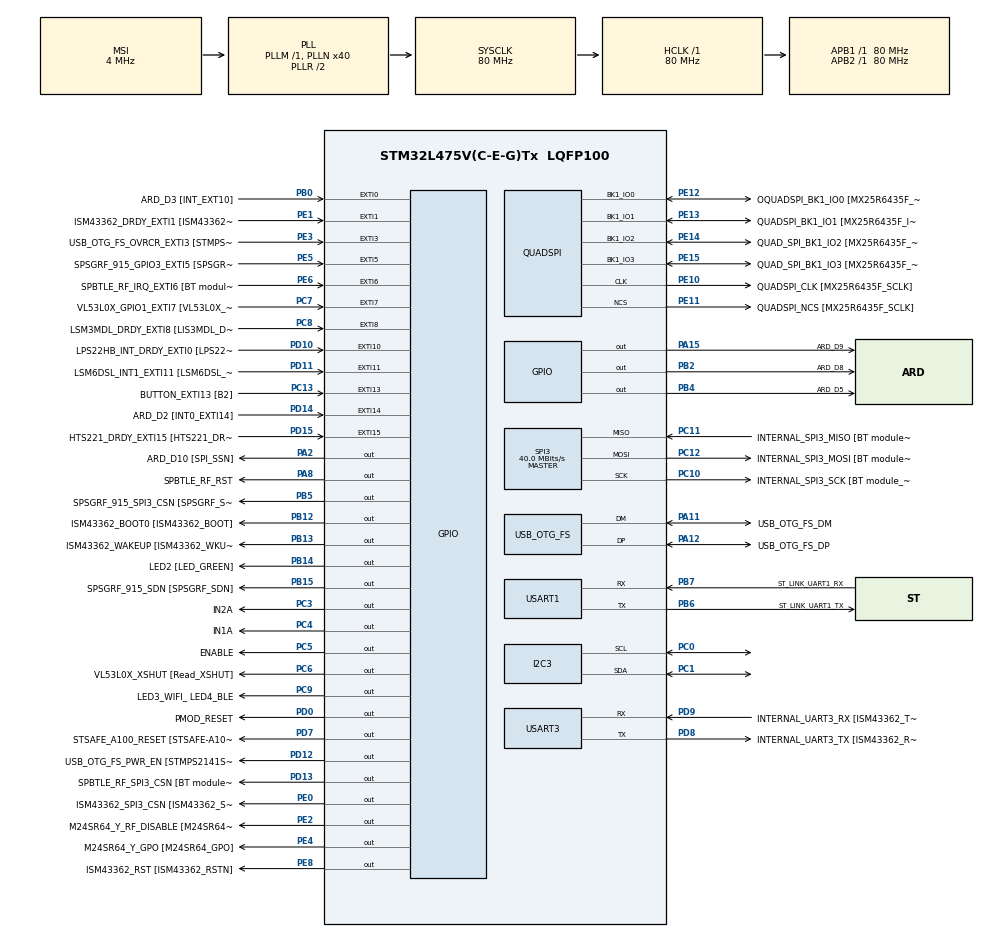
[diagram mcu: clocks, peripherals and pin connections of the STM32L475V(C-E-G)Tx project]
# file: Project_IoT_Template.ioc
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I2C3.Timing=0x10909CEC
Mcu.Family=STM32L4
Mcu.Name=STM32L475V(C-E-G)Tx
Mcu.Package=LQFP100
NVIC.EXTI15_10_IRQn=true\:0\:0\:false\:false\:true\:true\:true\:true
NVIC.EXTI1_IRQn=true\:0\:0\:false\:false\:true\:true\:true\:true
NVIC.EXTI9_5_IRQn=true\:0\:0\:false\:false\:true\:true\:true\:true
NVIC.PriorityGroup=NVIC_PRIORITYGROUP_4
NVIC.RTC_WKUP_IRQn=true\:2\:0\:true\:false\:true\:true\:true\:true
NVIC.TIM6_DAC_IRQn=true\:1\:0\:true\:false\:true\:true\:true\:true
PA0.GPIO_Label=ARD_D1 [UART4_TX]
PA0.Signal=UART4_TX
PA1.GPIO_Label=ARD_D0 [UART4_RX]
PA1.Signal=UART4_RX
PA10.GPIO_Label=USB_OTG_FS_ID
PA10.Signal=USB_OTG_FS_ID
PA11.GPIO_Label=USB_OTG_FS_DM
PA11.Mode=Device_Only
PA11.Signal=USB_OTG_FS_DM
PA12.GPIO_Label=USB_OTG_FS_DP
PA12.Mode=Device_Only
PA12.Signal=USB_OTG_FS_DP
PA13\ (JTMS-SWDIO).GPIO_Label=SYS_JTMS_SWDIO
PA13\ (JTMS-SWDIO).Mode=Serial_Wire
PA13\ (JTMS-SWDIO).Signal=SYS_JTMS-SWDIO
PA14\ (JTCK-SWCLK).GPIO_Label=SYS_JTCK_SWCLK
PA14\ (JTCK-SWCLK).Mode=Serial_Wire
PA14\ (JTCK-SWCLK).Signal=SYS_JTCK-SWCLK
PA15\ (JTDI).GPIO_Label=ARD_D9
PA15\ (JTDI).Signal=GPIO_Output
PA2.GPIO_Label=ARD_D10 [SPI_SSN]
PA2.Signal=GPIO_Output
PA3.GPIO_Label=ARD_D4
PA3.Signal=S_TIM2_CH4
PA4.GPIO_Label=ARD_D7
PA4.Signal=ADCx_IN9
PA5.GPIO_Label=ARD_D13 [SPI1_SCK]
PA5.Signal=SPI1_SCK
PA6.GPIO_Label=ARD_D12 [SPI1_MISO]
PA6.Signal=SPI1_MISO
PA7.GPIO_Label=ARD_D11 [SPI1_MOSI]
PA7.Signal=SPI1_MOSI
PA8.GPIO_Label=SPBTLE_RF_RST
PA8.Signal=GPIO_Output
PA9.GPIO_Label=USB_OTG_FS_VBUS [STMPS2141STR_OUT]
PA9.Signal=USB_OTG_FS_VBUS
PB0.GPIO_Label=ARD_D3 [INT_EXT10]
PB0.Signal=GPXTI0
PB1.GPIO_Label=ARD_D6 [ADC1_IN6]
PB1.Signal=ADCx_IN16
PB10.Signal=I2C2_SCL
PB11.Signal=I2C2_SDA
PB12.GPIO_Label=ISM43362_BOOT0 [ISM43362_BOOT]
PB12.Signal=GPIO_Output
PB13.GPIO_Label=ISM43362_WAKEUP [ISM43362_WKUP]
PB13.Signal=GPIO_Output
PB14.GPIO_Label=LED2 [LED_GREEN]
PB14.Signal=GPIO_Output
PB15.GPIO_Label=SPSGRF_915_SDN [SPSGRF_SDN]
PB15.Signal=GPIO_Output
PB2.GPIO_Label=ARD_D8
PB2.Signal=GPIO_Output
PB3\ (JTDO-TRACESWO).GPIO_Label=SYS_JTD0_SWO
PB3\ (JTDO-TRACESWO).Signal=SYS_JTDO-SWO
PB4\ (NJTRST).GPIO_Label=ARD_D5
PB4\ (NJTRST).Signal=GPIO_Output
PB5.GPIO_Label=SPSGRF_915_SPI3_CSN [SPSGRF_SPI_CS]
PB5.PinState=GPIO_PIN_SET
PB5.Signal=GPIO_Output
PB6.GPIO_Label=ST_LINK_UART1_TX
PB6.Mode=Asynchronous
PB6.Signal=USART1_TX
PB7.GPIO_Label=ST_LINK_UART1_RX
PB7.Mode=Asynchronous
PB7.Signal=USART1_RX
PB8.GPIO_Label=ARD_D15 [I2C1_SCL]
PB8.Signal=I2C1_SCL
PB9.GPIO_Label=ARD_D14 [I2C1_SDA]
PB9.Signal=I2C1_SDA
PC0.GPIO_Pu=GPIO_PULLUP
PC0.Mode=I2C
PC0.Signal=I2C3_SCL
PC1.GPIO_Pu=GPIO_PULLUP
PC1.Mode=I2C
PC1.Signal=I2C3_SDA
PC10.GPIO_Label=INTERNAL_SPI3_SCK [BT module_SPI_SCLK] [ISM43362_SCK]
PC10.Mode=Full_Duplex_Master
PC10.Signal=SPI3_SCK
PC11.GPIO_Label=INTERNAL_SPI3_MISO [BT module_SPI_MISO] [ISM43362_MISO]
PC11.Mode=Full_Duplex_Master
PC11.Signal=SPI3_MISO
PC12.GPIO_Label=INTERNAL_SPI3_MOSI [BT module_SPI_MOSI] [ISM43362_MOSI]
PC12.Mode=Full_Duplex_Master
PC12.Signal=SPI3_MOSI
PC13.GPIO_Label=BUTTON_EXTI13 [B2]
PC13.GPIO_ModeDefaultEXTI=GPIO_MODE_IT_FALLING
PC13.Signal=GPXTI13
PC14-OSC32_IN\ (PC14).Mode=LSE-External-Oscillator
PC14-OSC32_IN\ (PC14).Signal=RCC_OSC32_IN
PC15-OSC32_OUT\ (PC15).Mode=LSE-External-Oscillator
PC15-OSC32_OUT\ (PC15).Signal=RCC_OSC32_OUT
PC2.Signal=ADCx_IN3
PC3.GPIO_Label=IN2A
PC3.Signal=GPIO_Output
PC4.GPIO_Label=IN1A
PC4.Signal=GPIO_Output
PC5.GPIO_Label=ENABLE
PC5.Signal=GPIO_Output
PC6.GPIO_Label=VL53L0X_XSHUT [Read_XSHUT]
PC6.Signal=GPIO_Output
PC7.GPIO_Label=VL53L0X_GPIO1_EXTI7 [VL53L0X_GPIO1]
PC7.Signal=GPXTI7
PC8.GPIO_Label=LSM3MDL_DRDY_EXTI8 [LIS3MDL_DRDY]
PC8.Signal=GPXTI8
PC9.GPIO_Label=LED3_WIFI_ LED4_BLE
PC9.Signal=GPIO_Output
PD0.GPIO_Label=PMOD_RESET
PD0.Signal=GPIO_Output
PD1.GPIO_Label=PMOD_SPI2_SCK
PD1.Signal=SPI2_SCK
PD10.GPIO_Label=LPS22HB_INT_DRDY_EXTI0 [LPS22HB_INT_DRDY] 
PD10.Signal=GPXTI10
PD11.GPIO_Label=LSM6DSL_INT1_EXTI11 [LSM6DSL_INT1]
PD11.Signal=GPXTI11
PD12.GPIO_Label=USB_OTG_FS_PWR_EN [STMPS2141STR_EN]
PD12.Signal=GPIO_Output
PD13.GPIO_Label=SPBTLE_RF_SPI3_CSN [BT module_SPI_CS]
PD13.PinState=GPIO_PIN_SET
PD13.Signal=GPIO_Output
PD14.GPIO_Label=ARD_D2 [INT0_EXTI14]
PD14.Signal=GPXTI14
PD15.GPIO_Label=HTS221_DRDY_EXTI15 [HTS221_DRDY]
PD15.Signal=GPXTI15
PD3.GPIO_Label=PMOD_UART2_CTS
PD3.Signal=USART2_CTS
PD4.GPIO_Label=PMOD_UART2_RTS
PD4.Signal=USART2_RTS
PD5.GPIO_Label=PMOD_UART2_TX
PD5.Signal=USART2_TX
PD6.GPIO_Label=PMOD_UART2_RX
PD6.Signal=USART2_RX
PD7.GPIO_Label=STSAFE_A100_RESET [STSAFE-A100_RESET]
PD7.Signal=GPIO_Output
PD8.GPIO_Label=INTERNAL_UART3_TX [ISM43362_RX]
PD8.Mode=Asynchronous
PD8.Signal=USART3_TX
PD9.GPIO_Label=INTERNAL_UART3_RX [ISM43362_TX]
PD9.Mode=Asynchronous
PD9.Signal=USART3_RX
PE0.GPIO_Label=ISM43362_SPI3_CSN [ISM43362_SSN]
PE0.PinState=GPIO_PIN_SET
PE0.Signal=GPIO_Output
PE1.GPIO_Label=ISM43362_DRDY_EXTI1 [ISM43362_DATARDY]
PE1.Signal=GPXTI1
PE10.GPIO_Label=QUADSPI_CLK [MX25R6435F_SCLK]
PE10.Mode=Single Bank
PE10.Signal=QUADSPI_CLK
PE11.GPIO_Label=QUADSPI_NCS [MX25R6435F_SCLK]
PE11.Mode=Single Bank
PE11.Signal=QUADSPI_NCS
PE12.GPIO_Label=OQUADSPI_BK1_IO0 [MX25R6435F_IO0]
PE12.Mode=Single Bank
PE12.Signal=QUADSPI_BK1_IO0
PE13.GPIO_Label=QUADSPI_BK1_IO1 [MX25R6435F_IO1]
PE13.Mode=Single Bank
PE13.Signal=QUADSPI_BK1_IO1
PE14.GPIO_Label=QUAD_SPI_BK1_IO2 [MX25R6435F_IO2]
PE14.Mode=Single Bank
PE14.Signal=QUADSPI_BK1_IO2
PE15.GPIO_Label=QUAD_SPI_BK1_IO3 [MX25R6435F_IO3]
PE15.Mode=Single Bank
PE15.Signal=QUADSPI_BK1_IO3
PE2.GPIO_Label=M24SR64_Y_RF_DISABLE [M24SR64_RFDIS]
PE2.Signal=GPIO_Output
PE3.GPIO_Label=USB_OTG_FS_OVRCR_EXTI3 [STMPS2141STR_FAULT]
PE3.Signal=GPXTI3
PE4.GPIO_Label=M24SR64_Y_GPO [M24SR64_GPO]
PE4.Signal=GPIO_Output
PE5.GPIO_Label=SPSGRF_915_GPIO3_EXTI5 [SPSGRF_GPIO_3]
PE5.Signal=GPXTI5
PE6.GPIO_Label=SPBTLE_RF_IRQ_EXTI6 [BT module_SPI_IRQ]
PE6.Signal=GPXTI6
PE7.GPIO_Label=DFSDM1_DATIN2 [MP34DT01_DOUT]
PE7.Signal=S_DATAIN2DFSDM1
PE8.GPIO_Label=ISM43362_RST [ISM43362_RSTN]
PE8.Signal=GPIO_Output
ProjectManager.HeapSize=0x200
ProjectManager.StackSize=0x400
ProjectManager.TargetToolchain=STM32CubeIDE
QUADSPI.ClockPrescaler=2
QUADSPI.FifoThreshold=4
QUADSPI.FlashSize=23
QUADSPI.SampleShifting=QSPI_SAMPLE_SHIFTING_HALFCYCLE
RCC.ADCFreq_Value=48000000
RCC.AHBFreq_Value=80000000
RCC.APB1Freq_Value=80000000
RCC.APB1TimFreq_Value=80000000
RCC.APB2Freq_Value=80000000
RCC.APB2TimFreq_Value=80000000
RCC.CortexFreq_Value=80000000
RCC.HCLKFreq_Value=80000000
RCC.HSE_VALUE=8000000
RCC.HSI_VALUE=16000000
RCC.MSI_VALUE=4000000
RCC.PLLN=40
RCC.PLLSAI1N=24
RCC.SYSCLKFreq_VALUE=80000000
RCC.SYSCLKSource=RCC_SYSCLKSOURCE_PLLCLK
RCC.USBFreq_Value=48000000
RCC.VCOOutputFreq_Value=160000000
RTC.WakeUpCounter-WakeUp=2047
SH.ADCx_IN16.0=ADC1_IN16
SH.ADCx_IN3.0=ADC3_IN3
SH.ADCx_IN9.0=ADC1_IN9
SH.S_DATAIN2DFSDM1.0=DFSDM1_DATIN2
SH.S_TIM2_CH4.0=TIM2_CH4
SPI3.CalculateBaudRate=40.0 MBits/s
SPI3.Direction=SPI_DIRECTION_2LINES
SPI3.Mode=SPI_MODE_MASTER
SPI3.VirtualType=VM_MASTER
TIM6.Period=49999
TIM6.Prescaler=8000
USART1.VirtualMode-Asynchronous=VM_ASYNC
USART3.VirtualMode-Asynchronous=VM_ASYNC
USB_OTG_FS.VirtualMode=Device_Only
VP_DFSDM1_VS_IN0.Mode=Parallel_Input_ch0
VP_RNG_VS_RNG.Mode=RNG_Activate
VP_RTC_VS_RTC_Activate.Mode=RTC_Enabled
VP_RTC_VS_RTC_WakeUp_intern.Mode=WakeUp
VP_TIM6_VS_ClockSourceINT.Mode=Enable_Timer
board=B-L475E-IOT01A1

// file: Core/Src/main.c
/* USER CODE BEGIN Header */
/**
  ******************************************************************************
  * @file           : main.c
  * @brief          : Main program body
  *
  * Demo application to connect to a cloud based MQTT broker
  * Data communication is un-encrypted using port 1883
  *
  * Before running the code: -
  * 1. open /Core/Inc/WiFi_Credentials.h and enter WiFi access point SSID and password
  * 2. open /Core/Inc/CloudBrokerCredentials.h and enter your broker credentials
  * 3. Enter the subscribe topic name in line 376
  * 4. Enter the publish topic name in line 426
  *
  * Application Functionality
  * 1. Fetches the epoch time from st.com and uses it to start the RTC with a 1-second wake-up interrupt
  * 2. Connects to wireless access point and then to cloud DNS
  * 3. Connects to MQTT broker
  * 4. Subscribes to a single topic
  * 5. Prints date and time every second
  * 6. Publishes to a topic every 5 seconds (uses Tim6 periodic interrupt)
  * 7. Subscribe callback function runs every time a publish message is received from the broker
  ******************************************************************************
  * @attention
  *
  * Copyright (c) 2022 STMicroelectronics.
  * All rights reserved.
  *
  * This software is licensed under terms that can be found in the LICENSE file
  * in the root directory of this software component.
  * If no LICENSE file comes with this software, it is provided AS-IS.
  *
  ******************************************************************************
  */
/* USER CODE END Header */
#include "main.h"

/* USER CODE BEGIN Includes */
#include <string.h>
#include "wifi.h"
#include "net_internal.h"
#include "..\..\Common\Shared\Inc\net.h"
#include "stm32l475e_iot01_tsensor.h"
#include "stm32l475e_iot01_psensor.h"
#include "WiFi_Credentials.h"
#include "CloudBrokerCredentials.h"
#include "timedate.h"
#include <time.h>
/* USER CODE END Includes */

/* USER CODE BEGIN PD */
#define CONNECTION_TRIAL_MAX          10

#define WIFI_WRITE_TIMEOUT 10000
#define WIFI_READ_TIMEOUT  10000

#define CONNECTION_TRIAL_MAX          10

#define MQTT_SEND_BUFFER_SIZE             600
#define MQTT_READ_BUFFER_SIZE             600
#define MQTT_TOPIC_BUFFER_SIZE            100  /**< Maximum length of the application-defined topic names. */
#define MQTT_MSG_BUFFER_SIZE              MQTT_SEND_BUFFER_SIZE /**< Maximum length of the application-defined MQTT messages. */
#define MQTT_CMD_TIMEOUT                  5000
#define MODEL_MAC_SIZE                    13
#define MODEL_DEFAULT_MAC                 "0102030405"

#define TURBIDITY_DATA_12_BIT               0x0FFF
#define TURBIDITY_VREF_5000_mV              5000.0
#define TURBIDITY_ADC_RESOLUTION            4096.0
#define TURBIDITY_ADC_VOLTAGE_MAX           4600.0
#define TURBIDITY_ADC_VOLTAGE_MIN           1600.0
/**
 * @brief Nephelometric Turbidity Units claculation values.
 * @details Definition of Nephelometric Turbidity Units claculation data.
 */
#define TURBIDITY_NTU_CALC_FACT_0           0.8871
#define TURBIDITY_NTU_CALC_FACT_1           1.0571
#define TURBIDITY_NTU_CALC_FACT_2           1.1200
#define TURBIDITY_NTU_CALC_FACT_3           1.3333
#define TURBIDITY_NTU_CALC_FACT_4           1.6000
#define TURBIDITY_NTU_MIN                   0.0000
#define TURBIDITY_NTU_MAX                   4000.0
#define TURBIDITY_VOLTAGE_LEVEL_1           2650.0
#define TURBIDITY_VOLTAGE_LEVEL_2           2930.0
#define TURBIDITY_VOLTAGE_LEVEL_3           3350.0
#define TURBIDITY_VOLTAGE_LEVEL_4           3800.0
/* USER CODE END PD */

 DFSDM_Channel_HandleTypeDef hdfsdm1_channel0;

I2C_HandleTypeDef hi2c3;

QSPI_HandleTypeDef hqspi;

RNG_HandleTypeDef hrng;

RTC_HandleTypeDef hrtc;

SPI_HandleTypeDef hspi3;

TIM_HandleTypeDef htim6;

UART_HandleTypeDef huart1;
UART_HandleTypeDef huart3;

PCD_HandleTypeDef hpcd_USB_OTG_FS;

/* USER CODE BEGIN PV */
uint8_t timeDisplay = 0, readSensor = 0;
net_hnd_t hnet;

typedef struct {
  char *HostName;
  char *HostPort;
  char *ConnSecurity;
  char *MQClientId;
  char *MQUserName;
  char *MQUserPwd;
#ifdef LITMUS_LOOP
  char *LoopTopicId;
#endif
} device_config_t;

/* USER CODE END PV */

void SystemClock_Config(void);
void PeriphCommonClock_Config(void);
static void MX_GPIO_Init(void);
static void MX_QUADSPI_Init(void);
static void MX_SPI3_Init(void);
static void MX_USART1_UART_Init(void);
static void MX_USART3_UART_Init(void);
static void MX_USB_OTG_FS_PCD_Init(void);
static void MX_RTC_Init(void);
static void MX_TIM6_Init(void);
static void MX_RNG_Init(void);
static void MX_I2C3_Init(void);
static void MX_DFSDM1_Init(void);
/* USER CODE BEGIN PFP */
int network_wr(Network* n, unsigned char* buffer, int len, int timeout_ms);
int network_rd(Network* n, unsigned char* buffer, int len, int timeout_ms);

extern int net_if_init(void * if_ctxt);
extern int net_if_deinit(void * if_ctxt);
extern int net_if_reinit(void * if_ctxt);
extern int wifi_net_if_init(void * if_ctxt);

void SPI_WIFI_ISR(void);

int8_t turbidity_get_ntu ( uint32_t sample, float * ntu );
//void HAL_GPIO_WritePin();
/* USER CODE END PFP */

/* USER CODE BEGIN 0 */
int _write(int file, char *ptr, int len) {
	HAL_UART_Transmit(&huart1, (uint8_t*)ptr, len, HAL_MAX_DELAY);
	return len;
}

/**-------------------------------------------------------------------------------
  * @brief  EXTI line detection callback.
  * @param  GPIO_Pin: Specifies the port pin connected to corresponding EXTI line.
  * @retval None
  ------------------------------------------------------------------------------*/
void HAL_GPIO_EXTI_Callback(uint16_t GPIO_Pin)
{
  switch (GPIO_Pin)
  {
	case (GPIO_PIN_1):
	{
		SPI_WIFI_ISR();
		break;
	}

    default:
    {
      break;
    }
  }
}

/*------------------------------------------------------------------
 * RTC timer event callback function
 * Runs every second
 ------------------------------------------------------------------*/
void HAL_RTCEx_WakeUpTimerEventCallback (RTC_HandleTypeDef * hrtc) {
	timeDisplay = 1;
}

/*--------------------------------------------------------------
 * Timer 6 overflow callback function
 --------------------------------------------------------------*/
void HAL_TIM_PeriodElapsedCallback (TIM_HandleTypeDef * htim) {
	if(htim->Instance == TIM6) {
		readSensor = 1;
	}
}

/*--------------------------------------------------------------------------
 * Subscribe message callback function
 * Called every time a publish meassage is received from a subscribed topic
 --------------------------------------------------------------------------*/
void subscribeMessageHandler(MessageData* data)
{
	static char mqtt_msg[MQTT_MSG_BUFFER_SIZE], mqtt_topic[MQTT_TOPIC_BUFFER_SIZE];
	snprintf(mqtt_msg, data->message->payloadlen+1, "%s", (char *)data->message->payload);
	snprintf(mqtt_topic, data->topicName->lenstring.len+1, "%s", data->topicName->lenstring.data);
	printf("\r\nPublished message from MQTT broker\r\n");
	printf("Topic: %s, Payload: %s\r\n\n", mqtt_topic, mqtt_msg);
	if(strstr(mqtt_msg, "ON")) {
		HAL_GPIO_WritePin(LED2_GPIO_Port, LED2_Pin, GPIO_PIN_SET);
	}
	else if(strstr(mqtt_msg, "OFF")){
		HAL_GPIO_WritePin(LED2_GPIO_Port, LED2_Pin, GPIO_PIN_RESET);
	}
}

/* USER CODE END 0 */

int main(void)
{
  /* USER CODE BEGIN 1 */
	char speedMsg[50];
	float turbidity;
	int32_t ret;

//	uint8_t buffer[20];
//	uint32_t sample;
//	uint32_t voltage_mv;
//	float ntuReading;

	uint8_t buffer[20];
	uint32_t sample;
	uint32_t voltage_mv;

	//Network and MQTT variables
	device_config_t MQTT_Config;
	MQTTMessage mqmsg;
	MQTTClient client;
	Network network;
	MQTTPacket_connectData options = MQTTPacket_connectData_initializer;
	static unsigned char mqtt_send_buffer[MQTT_SEND_BUFFER_SIZE];
	static unsigned char mqtt_read_buffer[MQTT_READ_BUFFER_SIZE];
	net_sockhnd_t socket;
	net_ipaddr_t ipAddr;
	net_macaddr_t macAddr;

  /* USER CODE END 1 */

  /* MCU Configuration--------------------------------------------------------*/

  /* Reset of all peripherals, Initializes the Flash interface and the Systick. */
  HAL_Init();

  /* Configure the system clock */
  SystemClock_Config();

/* Configure the peripherals common clocks */
  PeriphCommonClock_Config();

  /* Initialize all configured peripherals */
  MX_GPIO_Init();
  MX_QUADSPI_Init();
  MX_SPI3_Init();
  MX_USART1_UART_Init();
  MX_USART3_UART_Init();
  MX_USB_OTG_FS_PCD_Init();
  MX_RTC_Init();
  MX_TIM6_Init();
  MX_RNG_Init();
  MX_I2C3_Init();
  MX_DFSDM1_Init();
  /* USER CODE BEGIN 2 */
  printf("HydroSystem connecting to Ubidots STEM...\r\n\n");

  //LED off at initialisation
  HAL_GPIO_WritePin(LED2_GPIO_Port, LED2_Pin, GPIO_PIN_RESET);

  //Initialise MQTT broker structure
  //Fill in this section with MQTT broker credentials from header file
  MQTT_Config.HostName = CloudBroker_HostName;
  MQTT_Config.HostPort = CloudBroker_Port;
  MQTT_Config.ConnSecurity = "0";	//plain TCP connection with no security
  MQTT_Config.MQUserName = CloudBroker_Username;
  MQTT_Config.MQUserPwd = CloudBroker_Password;
  MQTT_Config.MQClientId = CloudBroker_ClientID;

  //Initialise WiFi network
  if (net_init(&hnet, NET_IF, (wifi_net_if_init)) != NET_OK) {
	  printf("\n\rError");
  }
  else {
	  printf("\n\rOK");
  }
  HAL_Delay(500);

  printf("\n\rRetrieving the IP address.");

  if (net_get_ip_address(hnet, &ipAddr) != NET_OK) {
	  printf("\n\rError 2");
  }
  else
  {
    switch(ipAddr.ipv) {
      case NET_IP_V4:
        printf("\n\rIP address: %d.%d.%d.%d\n\r", ipAddr.ip[12], ipAddr.ip[13], ipAddr.ip[14], ipAddr.ip[15]);
        break;
      case NET_IP_V6:
      default:
    	  printf("\n\rError 3");
    }
  }

  if (net_get_mac_address(hnet, &macAddr) == NET_OK) {
      printf("\n\rMac Address: %02x:%02x:%02x:%02x:%02x:%02x\r\n",
               macAddr.mac[0], macAddr.mac[1], macAddr.mac[2], macAddr.mac[3], macAddr.mac[4], macAddr.mac[5]);
  }

  /*
   * Fetch the epoch time from st.com and use it to set the RTC time
   */
  if (setRTCTimeDateFromNetwork(true) != TD_OK) {
	  printf("Fail setting time\r\n");
  }
  else {
	  printf("Time set, Starting RTC\r\n");
	  //RTC started with a 1-second wake-up interrupt
	  HAL_RTCEx_SetWakeUpTimer_IT(&hrtc, 2047, RTC_WAKEUPCLOCK_RTCCLK_DIV16);
  }

  printf("Connecting to MQTT Broker\r\n\n");
  //Create network socket
  ret = net_sock_create(hnet, &socket, NET_PROTO_TCP);
  if (ret != NET_OK)
  {
    printf("\n\rCould not create the socket.\r\n");
  }
  else
  {
	  ret |= net_sock_setopt(socket, "sock_noblocking", NULL, 0);
  }

  ret = net_sock_open(socket, MQTT_Config.HostName, 1883, 0);
  if (ret != NET_OK)
	{
	  printf("\n\rCould not open the socket.");
	  HAL_Delay(1000);
	}
  else {
	  printf("\n\rConnected to server");
	  HAL_Delay(1000);
  }

  network.my_socket = socket;
  network.mqttread = (network_rd);
  network.mqttwrite = (network_wr);

  MQTTClientInit(&client, &network, MQTT_CMD_TIMEOUT, mqtt_send_buffer, MQTT_SEND_BUFFER_SIZE,
	 mqtt_read_buffer, MQTT_READ_BUFFER_SIZE);

  /* MQTT connect */
  options.clientID.cstring = MQTT_Config.MQClientId;
  options.username.cstring = MQTT_Config.MQUserName;
  options.password.cstring = MQTT_Config.MQUserPwd;

  HAL_Delay(1000);

  ret = MQTTConnect(&client, &options);
  if (ret != 0)
  {
	printf("\n\rMQTTConnect() failed: %ld\n", ret);
  }
  else
  {
	printf("\n\rConnected to MQTT Broker");
	HAL_Delay(1000);
  }
  HAL_Delay(1000);

  //Add code here to subscribe to topics
  ret = MQTTSubscribe(&client, "/v1.6/devices/hydrosystem/motor", QOS0, (subscribeMessageHandler));
  if (ret != MQSUCCESS) {
	printf("\n\rSubscribe failed: %ld\n\r", ret);
  }
  else {
	printf("\n\rSubscribed to topic \n\r");
	ret = MQTTYield(&client, 500);
  }
  HAL_Delay(1000);

  HAL_TIM_Base_Start_IT(&htim6);	//start timer 6. Used for periodic interrupt

  /* USER CODE END 2 */

  /* Infinite loop */
  while (1)
  {

    /* USER CODE BEGIN 3 */

	/*
	 * Need to yield to test for a received publish message from broker
	 */
	ret = MQTTYield(&client, 500);

	HAL_I2C_Master_Receive(&hi2c3, 0x9B, buffer, 2, 1000);
	sample = (((uint16_t)(buffer[0]))<<8) + buffer[1];
	voltage_mv = 5000 * sample/4096;
	printf("Sample: 0x%04x %lu decimal, voltage %lumV\r\n", sample, sample, voltage_mv);
	turbidity_get_ntu(sample, &turbidity);
	printf("NTU Reading: %f\r\n\n", turbidity);

	sprintf(speedMsg, "{\"Turbidity\": {\"value\": %f}}", turbidity);
	printf("%s\n\r", speedMsg);
	memset(&mqmsg, 0, sizeof(MQTTMessage));
	mqmsg.qos = QOS0;
	mqmsg.payload = (char *) speedMsg;
	mqmsg.payloadlen = strlen(speedMsg);
	MQTTPublish(&client, "/v1.6/devices/hydrosystem", &mqmsg);
	HAL_Delay(5000);

	if(turbidity > 3050){
		printf("Feeding plants\r\n");
		printf("Motor opening feed hatch\r\n\n");
		HAL_GPIO_WritePin(IN1A_GPIO_Port, IN1A_Pin, 0);
		HAL_GPIO_WritePin(IN2A_GPIO_Port, IN2A_Pin, 1);
		HAL_GPIO_WritePin(ENABLE_GPIO_Port, ENABLE_Pin, 1);//rotates motor
		HAL_Delay(3500);
		HAL_GPIO_WritePin(IN1A_GPIO_Port, IN1A_Pin, 0);
		HAL_GPIO_WritePin(IN2A_GPIO_Port, IN2A_Pin, 0);
		HAL_GPIO_WritePin(ENABLE_GPIO_Port, ENABLE_Pin, 1);//stops motor
		HAL_Delay(1500);
		HAL_GPIO_WritePin(IN1A_GPIO_Port, IN1A_Pin, 1);
		HAL_GPIO_WritePin(IN2A_GPIO_Port, IN2A_Pin, 0);
		HAL_GPIO_WritePin(ENABLE_GPIO_Port, ENABLE_Pin, 1);//reverses motor
		HAL_Delay(3500);
		HAL_GPIO_WritePin(IN1A_GPIO_Port, IN1A_Pin, 0);
		HAL_GPIO_WritePin(IN2A_GPIO_Port, IN2A_Pin, 0);
		HAL_GPIO_WritePin(ENABLE_GPIO_Port, ENABLE_Pin, 1);//stops motor
	}else{
		HAL_GPIO_WritePin(IN1A_GPIO_Port, IN1A_Pin, 0);
		HAL_GPIO_WritePin(IN2A_GPIO_Port, IN2A_Pin, 0);
		HAL_GPIO_WritePin(ENABLE_GPIO_Port, ENABLE_Pin, 1);//stops motor
	}
  }
  /* USER CODE END 3 */
}

void SystemClock_Config(void)
{
  RCC_OscInitTypeDef RCC_OscInitStruct = {0};
  RCC_ClkInitTypeDef RCC_ClkInitStruct = {0};

  /** Configure the main internal regulator output voltage
  */
  if (HAL_PWREx_ControlVoltageScaling(PWR_REGULATOR_VOLTAGE_SCALE1) != HAL_OK)
  {
    Error_Handler();
  }

  /** Configure LSE Drive Capability
  */
  HAL_PWR_EnableBkUpAccess();
  __HAL_RCC_LSEDRIVE_CONFIG(RCC_LSEDRIVE_LOW);

  /** Initializes the RCC Oscillators according to the specified parameters
  * in the RCC_OscInitTypeDef structure.
  */
  RCC_OscInitStruct.OscillatorType = RCC_OSCILLATORTYPE_LSI|RCC_OSCILLATORTYPE_LSE
                              |RCC_OSCILLATORTYPE_MSI;
  RCC_OscInitStruct.LSEState = RCC_LSE_ON;
  RCC_OscInitStruct.LSIState = RCC_LSI_ON;
  RCC_OscInitStruct.MSIState = RCC_MSI_ON;
  RCC_OscInitStruct.MSICalibrationValue = 0;
  RCC_OscInitStruct.MSIClockRange = RCC_MSIRANGE_6;
  RCC_OscInitStruct.PLL.PLLState = RCC_PLL_ON;
  RCC_OscInitStruct.PLL.PLLSource = RCC_PLLSOURCE_MSI;
  RCC_OscInitStruct.PLL.PLLM = 1;
  RCC_OscInitStruct.PLL.PLLN = 40;
  RCC_OscInitStruct.PLL.PLLP = RCC_PLLP_DIV7;
  RCC_OscInitStruct.PLL.PLLQ = RCC_PLLQ_DIV2;
  RCC_OscInitStruct.PLL.PLLR = RCC_PLLR_DIV2;
  if (HAL_RCC_OscConfig(&RCC_OscInitStruct) != HAL_OK)
  {
    Error_Handler();
  }

  /** Initializes the CPU, AHB and APB buses clocks
  */
  RCC_ClkInitStruct.ClockType = RCC_CLOCKTYPE_HCLK|RCC_CLOCKTYPE_SYSCLK
                              |RCC_CLOCKTYPE_PCLK1|RCC_CLOCKTYPE_PCLK2;
  RCC_ClkInitStruct.SYSCLKSource = RCC_SYSCLKSOURCE_PLLCLK;
  RCC_ClkInitStruct.AHBCLKDivider = RCC_SYSCLK_DIV1;
  RCC_ClkInitStruct.APB1CLKDivider = RCC_HCLK_DIV1;
  RCC_ClkInitStruct.APB2CLKDivider = RCC_HCLK_DIV1;

  if (HAL_RCC_ClockConfig(&RCC_ClkInitStruct, FLASH_LATENCY_4) != HAL_OK)
  {
    Error_Handler();
  }

  /** Enable MSI Auto calibration
  */
  HAL_RCCEx_EnableMSIPLLMode();
}

void PeriphCommonClock_Config(void)
{
  RCC_PeriphCLKInitTypeDef PeriphClkInit = {0};

  /** Initializes the peripherals clock
  */
  PeriphClkInit.PeriphClockSelection = RCC_PERIPHCLK_USB|RCC_PERIPHCLK_RNG;
  PeriphClkInit.UsbClockSelection = RCC_USBCLKSOURCE_PLLSAI1;
  PeriphClkInit.RngClockSelection = RCC_RNGCLKSOURCE_PLLSAI1;
  PeriphClkInit.PLLSAI1.PLLSAI1Source = RCC_PLLSOURCE_MSI;
  PeriphClkInit.PLLSAI1.PLLSAI1M = 1;
  PeriphClkInit.PLLSAI1.PLLSAI1N = 24;
  PeriphClkInit.PLLSAI1.PLLSAI1P = RCC_PLLP_DIV7;
  PeriphClkInit.PLLSAI1.PLLSAI1Q = RCC_PLLQ_DIV2;
  PeriphClkInit.PLLSAI1.PLLSAI1R = RCC_PLLR_DIV2;
  PeriphClkInit.PLLSAI1.PLLSAI1ClockOut = RCC_PLLSAI1_48M2CLK;
  if (HAL_RCCEx_PeriphCLKConfig(&PeriphClkInit) != HAL_OK)
  {
    Error_Handler();
  }
}

static void MX_DFSDM1_Init(void)
{

  hdfsdm1_channel0.Instance = DFSDM1_Channel0;
  hdfsdm1_channel0.Init.OutputClock.Activation = DISABLE;
  hdfsdm1_channel0.Init.OutputClock.Selection = DFSDM_CHANNEL_OUTPUT_CLOCK_SYSTEM;
  hdfsdm1_channel0.Init.OutputClock.Divider = 2;
  hdfsdm1_channel0.Init.Input.Multiplexer = DFSDM_CHANNEL_INTERNAL_REGISTER;
  hdfsdm1_channel0.Init.Input.DataPacking = DFSDM_CHANNEL_STANDARD_MODE;
  hdfsdm1_channel0.Init.Input.Pins = DFSDM_CHANNEL_SAME_CHANNEL_PINS;
  hdfsdm1_channel0.Init.SerialInterface.Type = DFSDM_CHANNEL_SPI_RISING;
  hdfsdm1_channel0.Init.SerialInterface.SpiClock = DFSDM_CHANNEL_SPI_CLOCK_EXTERNAL;
  hdfsdm1_channel0.Init.Awd.FilterOrder = DFSDM_CHANNEL_FASTSINC_ORDER;
  hdfsdm1_channel0.Init.Awd.Oversampling = 1;
  hdfsdm1_channel0.Init.Offset = 0x00;
  hdfsdm1_channel0.Init.RightBitShift = 0x00;
  if (HAL_DFSDM_ChannelInit(&hdfsdm1_channel0) != HAL_OK)
  {
    Error_Handler();
  }

}

static void MX_I2C3_Init(void)
{

  hi2c3.Instance = I2C3;
  hi2c3.Init.Timing = 0x10909CEC;
  hi2c3.Init.OwnAddress1 = 0;
  hi2c3.Init.AddressingMode = I2C_ADDRESSINGMODE_7BIT;
  hi2c3.Init.DualAddressMode = I2C_DUALADDRESS_DISABLE;
  hi2c3.Init.OwnAddress2 = 0;
  hi2c3.Init.OwnAddress2Masks = I2C_OA2_NOMASK;
  hi2c3.Init.GeneralCallMode = I2C_GENERALCALL_DISABLE;
  hi2c3.Init.NoStretchMode = I2C_NOSTRETCH_DISABLE;
  if (HAL_I2C_Init(&hi2c3) != HAL_OK)
  {
    Error_Handler();
  }

  /** Configure Analogue filter
  */
  if (HAL_I2CEx_ConfigAnalogFilter(&hi2c3, I2C_ANALOGFILTER_ENABLE) != HAL_OK)
  {
    Error_Handler();
  }

  /** Configure Digital filter
  */
  if (HAL_I2CEx_ConfigDigitalFilter(&hi2c3, 0) != HAL_OK)
  {
    Error_Handler();
  }

}

static void MX_QUADSPI_Init(void)
{

  /* QUADSPI parameter configuration*/
  hqspi.Instance = QUADSPI;
  hqspi.Init.ClockPrescaler = 2;
  hqspi.Init.FifoThreshold = 4;
  hqspi.Init.SampleShifting = QSPI_SAMPLE_SHIFTING_HALFCYCLE;
  hqspi.Init.FlashSize = 23;
  hqspi.Init.ChipSelectHighTime = QSPI_CS_HIGH_TIME_1_CYCLE;
  hqspi.Init.ClockMode = QSPI_CLOCK_MODE_0;
  if (HAL_QSPI_Init(&hqspi) != HAL_OK)
  {
    Error_Handler();
  }

}

static void MX_RNG_Init(void)
{

  hrng.Instance = RNG;
  if (HAL_RNG_Init(&hrng) != HAL_OK)
  {
    Error_Handler();
  }

}

static void MX_RTC_Init(void)
{

  /** Initialize RTC Only
  */
  hrtc.Instance = RTC;
  hrtc.Init.HourFormat = RTC_HOURFORMAT_24;
  hrtc.Init.AsynchPrediv = 127;
  hrtc.Init.SynchPrediv = 255;
  hrtc.Init.OutPut = RTC_OUTPUT_DISABLE;
  hrtc.Init.OutPutRemap = RTC_OUTPUT_REMAP_NONE;
  hrtc.Init.OutPutPolarity = RTC_OUTPUT_POLARITY_HIGH;
  hrtc.Init.OutPutType = RTC_OUTPUT_TYPE_OPENDRAIN;
  if (HAL_RTC_Init(&hrtc) != HAL_OK)
  {
    Error_Handler();
  }

}

static void MX_SPI3_Init(void)
{

  /* SPI3 parameter configuration*/
  hspi3.Instance = SPI3;
  hspi3.Init.Mode = SPI_MODE_MASTER;
  hspi3.Init.Direction = SPI_DIRECTION_2LINES;
  hspi3.Init.DataSize = SPI_DATASIZE_4BIT;
  hspi3.Init.CLKPolarity = SPI_POLARITY_LOW;
  hspi3.Init.CLKPhase = SPI_PHASE_1EDGE;
  hspi3.Init.NSS = SPI_NSS_SOFT;
  hspi3.Init.BaudRatePrescaler = SPI_BAUDRATEPRESCALER_2;
  hspi3.Init.FirstBit = SPI_FIRSTBIT_MSB;
  hspi3.Init.TIMode = SPI_TIMODE_DISABLE;
  hspi3.Init.CRCCalculation = SPI_CRCCALCULATION_DISABLE;
  hspi3.Init.CRCPolynomial = 7;
  hspi3.Init.CRCLength = SPI_CRC_LENGTH_DATASIZE;
  hspi3.Init.NSSPMode = SPI_NSS_PULSE_ENABLE;
  if (HAL_SPI_Init(&hspi3) != HAL_OK)
  {
    Error_Handler();
  }

}

static void MX_TIM6_Init(void)
{

  TIM_MasterConfigTypeDef sMasterConfig = {0};

  htim6.Instance = TIM6;
  htim6.Init.Prescaler = 8000;
  htim6.Init.CounterMode = TIM_COUNTERMODE_UP;
  htim6.Init.Period = 49999;
  htim6.Init.AutoReloadPreload = TIM_AUTORELOAD_PRELOAD_DISABLE;
  if (HAL_TIM_Base_Init(&htim6) != HAL_OK)
  {
    Error_Handler();
  }
  sMasterConfig.MasterOutputTrigger = TIM_TRGO_RESET;
  sMasterConfig.MasterSlaveMode = TIM_MASTERSLAVEMODE_DISABLE;
  if (HAL_TIMEx_MasterConfigSynchronization(&htim6, &sMasterConfig) != HAL_OK)
  {
    Error_Handler();
  }

}

static void MX_USART1_UART_Init(void)
{

  huart1.Instance = USART1;
  huart1.Init.BaudRate = 115200;
  huart1.Init.WordLength = UART_WORDLENGTH_8B;
  huart1.Init.StopBits = UART_STOPBITS_1;
  huart1.Init.Parity = UART_PARITY_NONE;
  huart1.Init.Mode = UART_MODE_TX_RX;
  huart1.Init.HwFlowCtl = UART_HWCONTROL_NONE;
  huart1.Init.OverSampling = UART_OVERSAMPLING_16;
  huart1.Init.OneBitSampling = UART_ONE_BIT_SAMPLE_DISABLE;
  huart1.AdvancedInit.AdvFeatureInit = UART_ADVFEATURE_NO_INIT;
  if (HAL_UART_Init(&huart1) != HAL_OK)
  {
    Error_Handler();
  }

}

static void MX_USART3_UART_Init(void)
{

  huart3.Instance = USART3;
  huart3.Init.BaudRate = 115200;
  huart3.Init.WordLength = UART_WORDLENGTH_8B;
  huart3.Init.StopBits = UART_STOPBITS_1;
  huart3.Init.Parity = UART_PARITY_NONE;
  huart3.Init.Mode = UART_MODE_TX_RX;
  huart3.Init.HwFlowCtl = UART_HWCONTROL_NONE;
  huart3.Init.OverSampling = UART_OVERSAMPLING_16;
  huart3.Init.OneBitSampling = UART_ONE_BIT_SAMPLE_DISABLE;
  huart3.AdvancedInit.AdvFeatureInit = UART_ADVFEATURE_NO_INIT;
  if (HAL_UART_Init(&huart3) != HAL_OK)
  {
    Error_Handler();
  }

}

static void MX_USB_OTG_FS_PCD_Init(void)
{

  hpcd_USB_OTG_FS.Instance = USB_OTG_FS;
  hpcd_USB_OTG_FS.Init.dev_endpoints = 6;
  hpcd_USB_OTG_FS.Init.speed = PCD_SPEED_FULL;
  hpcd_USB_OTG_FS.Init.phy_itface = PCD_PHY_EMBEDDED;
  hpcd_USB_OTG_FS.Init.Sof_enable = DISABLE;
  hpcd_USB_OTG_FS.Init.low_power_enable = DISABLE;
  hpcd_USB_OTG_FS.Init.lpm_enable = DISABLE;
  hpcd_USB_OTG_FS.Init.battery_charging_enable = DISABLE;
  hpcd_USB_OTG_FS.Init.use_dedicated_ep1 = DISABLE;
  hpcd_USB_OTG_FS.Init.vbus_sensing_enable = DISABLE;
  if (HAL_PCD_Init(&hpcd_USB_OTG_FS) != HAL_OK)
  {
    Error_Handler();
  }

}

static void MX_GPIO_Init(void)
{
  GPIO_InitTypeDef GPIO_InitStruct = {0};

  /* GPIO Ports Clock Enable */
  __HAL_RCC_GPIOE_CLK_ENABLE();
  __HAL_RCC_GPIOC_CLK_ENABLE();
  __HAL_RCC_GPIOA_CLK_ENABLE();
  __HAL_RCC_GPIOB_CLK_ENABLE();
  __HAL_RCC_GPIOD_CLK_ENABLE();

  /*Configure GPIO pin Output Level */
  HAL_GPIO_WritePin(GPIOE, M24SR64_Y_RF_DISABLE_Pin|M24SR64_Y_GPO_Pin|ISM43362_RST_Pin, GPIO_PIN_RESET);

  /*Configure GPIO pin Output Level */
  HAL_GPIO_WritePin(GPIOC, IN2A_Pin|IN1A_Pin|ENABLE_Pin|VL53L0X_XSHUT_Pin
                          |LED3_WIFI__LED4_BLE_Pin, GPIO_PIN_RESET);

  /*Configure GPIO pin Output Level */
  HAL_GPIO_WritePin(GPIOA, ARD_D10_Pin|SPBTLE_RF_RST_Pin|ARD_D9_Pin, GPIO_PIN_RESET);

  /*Configure GPIO pin Output Level */
  HAL_GPIO_WritePin(GPIOB, ARD_D8_Pin|ISM43362_BOOT0_Pin|ISM43362_WAKEUP_Pin|LED2_Pin
                          |SPSGRF_915_SDN_Pin|ARD_D5_Pin, GPIO_PIN_RESET);

  /*Configure GPIO pin Output Level */
  HAL_GPIO_WritePin(GPIOD, USB_OTG_FS_PWR_EN_Pin|PMOD_RESET_Pin|STSAFE_A100_RESET_Pin, GPIO_PIN_RESET);

  /*Configure GPIO pin Output Level */
  HAL_GPIO_WritePin(SPBTLE_RF_SPI3_CSN_GPIO_Port, SPBTLE_RF_SPI3_CSN_Pin, GPIO_PIN_SET);

  /*Configure GPIO pin Output Level */
  HAL_GPIO_WritePin(SPSGRF_915_SPI3_CSN_GPIO_Port, SPSGRF_915_SPI3_CSN_Pin, GPIO_PIN_SET);

  /*Configure GPIO pin Output Level */
  HAL_GPIO_WritePin(ISM43362_SPI3_CSN_GPIO_Port, ISM43362_SPI3_CSN_Pin, GPIO_PIN_SET);

  /*Configure GPIO pins : M24SR64_Y_RF_DISABLE_Pin M24SR64_Y_GPO_Pin ISM43362_RST_Pin ISM43362_SPI3_CSN_Pin */
  GPIO_InitStruct.Pin = M24SR64_Y_RF_DISABLE_Pin|M24SR64_Y_GPO_Pin|ISM43362_RST_Pin|ISM43362_SPI3_CSN_Pin;
  GPIO_InitStruct.Mode = GPIO_MODE_OUTPUT_PP;
  GPIO_InitStruct.Pull = GPIO_NOPULL;
  GPIO_InitStruct.Speed = GPIO_SPEED_FREQ_LOW;
  HAL_GPIO_Init(GPIOE, &GPIO_InitStruct);

  /*Configure GPIO pins : USB_OTG_FS_OVRCR_EXTI3_Pin SPSGRF_915_GPIO3_EXTI5_Pin SPBTLE_RF_IRQ_EXTI6_Pin ISM43362_DRDY_EXTI1_Pin */
  GPIO_InitStruct.Pin = USB_OTG_FS_OVRCR_EXTI3_Pin|SPSGRF_915_GPIO3_EXTI5_Pin|SPBTLE_RF_IRQ_EXTI6_Pin|ISM43362_DRDY_EXTI1_Pin;
  GPIO_InitStruct.Mode = GPIO_MODE_IT_RISING;
  GPIO_InitStruct.Pull = GPIO_NOPULL;
  HAL_GPIO_Init(GPIOE, &GPIO_InitStruct);

  /*Configure GPIO pin : BUTTON_EXTI13_Pin */
  GPIO_InitStruct.Pin = BUTTON_EXTI13_Pin;
  GPIO_InitStruct.Mode = GPIO_MODE_IT_FALLING;
  GPIO_InitStruct.Pull = GPIO_NOPULL;
  HAL_GPIO_Init(BUTTON_EXTI13_GPIO_Port, &GPIO_InitStruct);

  /*Configure GPIO pin : PC2 */
  GPIO_InitStruct.Pin = GPIO_PIN_2;
  GPIO_InitStruct.Mode = GPIO_MODE_ANALOG_ADC_CONTROL;
  GPIO_InitStruct.Pull = GPIO_NOPULL;
  HAL_GPIO_Init(GPIOC, &GPIO_InitStruct);

  /*Configure GPIO pins : IN2A_Pin IN1A_Pin ENABLE_Pin VL53L0X_XSHUT_Pin
                           LED3_WIFI__LED4_BLE_Pin */
  GPIO_InitStruct.Pin = IN2A_Pin|IN1A_Pin|ENABLE_Pin|VL53L0X_XSHUT_Pin
                          |LED3_WIFI__LED4_BLE_Pin;
  GPIO_InitStruct.Mode = GPIO_MODE_OUTPUT_PP;
  GPIO_InitStruct.Pull = GPIO_NOPULL;
  GPIO_InitStruct.Speed = GPIO_SPEED_FREQ_LOW;
  HAL_GPIO_Init(GPIOC, &GPIO_InitStruct);

  /*Configure GPIO pins : ARD_D1_Pin ARD_D0_Pin */
  GPIO_InitStruct.Pin = ARD_D1_Pin|ARD_D0_Pin;
  GPIO_InitStruct.Mode = GPIO_MODE_AF_PP;
  GPIO_InitStruct.Pull = GPIO_NOPULL;
  GPIO_InitStruct.Speed = GPIO_SPEED_FREQ_VERY_HIGH;
  GPIO_InitStruct.Alternate = GPIO_AF8_UART4;
  HAL_GPIO_Init(GPIOA, &GPIO_InitStruct);

  /*Configure GPIO pins : ARD_D10_Pin SPBTLE_RF_RST_Pin ARD_D9_Pin */
  GPIO_InitStruct.Pin = ARD_D10_Pin|SPBTLE_RF_RST_Pin|ARD_D9_Pin;
  GPIO_InitStruct.Mode = GPIO_MODE_OUTPUT_PP;
  GPIO_InitStruct.Pull = GPIO_NOPULL;
  GPIO_InitStruct.Speed = GPIO_SPEED_FREQ_LOW;
  HAL_GPIO_Init(GPIOA, &GPIO_InitStruct);

  /*Configure GPIO pin : ARD_D4_Pin */
  GPIO_InitStruct.Pin = ARD_D4_Pin;
  GPIO_InitStruct.Mode = GPIO_MODE_AF_PP;
  GPIO_InitStruct.Pull = GPIO_NOPULL;
  GPIO_InitStruct.Speed = GPIO_SPEED_FREQ_LOW;
  GPIO_InitStruct.Alternate = GPIO_AF1_TIM2;
  HAL_GPIO_Init(ARD_D4_GPIO_Port, &GPIO_InitStruct);

  /*Configure GPIO pin : ARD_D7_Pin */
  GPIO_InitStruct.Pin = ARD_D7_Pin;
  GPIO_InitStruct.Mode = GPIO_MODE_ANALOG_ADC_CONTROL;
  GPIO_InitStruct.Pull = GPIO_NOPULL;
  HAL_GPIO_Init(ARD_D7_GPIO_Port, &GPIO_InitStruct);

  /*Configure GPIO pins : ARD_D13_Pin ARD_D12_Pin ARD_D11_Pin */
  GPIO_InitStruct.Pin = ARD_D13_Pin|ARD_D12_Pin|ARD_D11_Pin;
  GPIO_InitStruct.Mode = GPIO_MODE_AF_PP;
  GPIO_InitStruct.Pull = GPIO_NOPULL;
  GPIO_InitStruct.Speed = GPIO_SPEED_FREQ_VERY_HIGH;
  GPIO_InitStruct.Alternate = GPIO_AF5_SPI1;
  HAL_GPIO_Init(GPIOA, &GPIO_InitStruct);

  /*Configure GPIO pin : ARD_D3_Pin */
  GPIO_InitStruct.Pin = ARD_D3_Pin;
  GPIO_InitStruct.Mode = GPIO_MODE_IT_RISING;
  GPIO_InitStruct.Pull = GPIO_NOPULL;
  HAL_GPIO_Init(ARD_D3_GPIO_Port, &GPIO_InitStruct);

  /*Configure GPIO pin : ARD_D6_Pin */
  GPIO_InitStruct.Pin = ARD_D6_Pin;
  GPIO_InitStruct.Mode = GPIO_MODE_ANALOG_ADC_CONTROL;
  GPIO_InitStruct.Pull = GPIO_NOPULL;
  HAL_GPIO_Init(ARD_D6_GPIO_Port, &GPIO_InitStruct);

  /*Configure GPIO pins : ARD_D8_Pin ISM43362_BOOT0_Pin ISM43362_WAKEUP_Pin LED2_Pin
                           SPSGRF_915_SDN_Pin ARD_D5_Pin SPSGRF_915_SPI3_CSN_Pin */
  GPIO_InitStruct.Pin = ARD_D8_Pin|ISM43362_BOOT0_Pin|ISM43362_WAKEUP_Pin|LED2_Pin
                          |SPSGRF_915_SDN_Pin|ARD_D5_Pin|SPSGRF_915_SPI3_CSN_Pin;
  GPIO_InitStruct.Mode = GPIO_MODE_OUTPUT_PP;
  GPIO_InitStruct.Pull = GPIO_NOPULL;
  GPIO_InitStruct.Speed = GPIO_SPEED_FREQ_LOW;
  HAL_GPIO_Init(GPIOB, &GPIO_InitStruct);

  /*Configure GPIO pins : PB10 PB11 */
  GPIO_InitStruct.Pin = GPIO_PIN_10|GPIO_PIN_11;
  GPIO_InitStruct.Mode = GPIO_MODE_AF_OD;
  GPIO_InitStruct.Pull = GPIO_NOPULL;
  GPIO_InitStruct.Speed = GPIO_SPEED_FREQ_VERY_HIGH;
  GPIO_InitStruct.Alternate = GPIO_AF4_I2C2;
  HAL_GPIO_Init(GPIOB, &GPIO_InitStruct);

  /*Configure GPIO pins : LPS22HB_INT_DRDY_EXTI0_Pin LSM6DSL_INT1_EXTI11_Pin ARD_D2_Pin HTS221_DRDY_EXTI15_Pin */
  GPIO_InitStruct.Pin = LPS22HB_INT_DRDY_EXTI0_Pin|LSM6DSL_INT1_EXTI11_Pin|ARD_D2_Pin|HTS221_DRDY_EXTI15_Pin;
  GPIO_InitStruct.Mode = GPIO_MODE_IT_RISING;
  GPIO_InitStruct.Pull = GPIO_NOPULL;
  HAL_GPIO_Init(GPIOD, &GPIO_InitStruct);

  /*Configure GPIO pins : USB_OTG_FS_PWR_EN_Pin SPBTLE_RF_SPI3_CSN_Pin PMOD_RESET_Pin STSAFE_A100_RESET_Pin */
  GPIO_InitStruct.Pin = USB_OTG_FS_PWR_EN_Pin|SPBTLE_RF_SPI3_CSN_Pin|PMOD_RESET_Pin|STSAFE_A100_RESET_Pin;
  GPIO_InitStruct.Mode = GPIO_MODE_OUTPUT_PP;
  GPIO_InitStruct.Pull = GPIO_NOPULL;
  GPIO_InitStruct.Speed = GPIO_SPEED_FREQ_LOW;
  HAL_GPIO_Init(GPIOD, &GPIO_InitStruct);

  /*Configure GPIO pins : VL53L0X_GPIO1_EXTI7_Pin LSM3MDL_DRDY_EXTI8_Pin */
  GPIO_InitStruct.Pin = VL53L0X_GPIO1_EXTI7_Pin|LSM3MDL_DRDY_EXTI8_Pin;
  GPIO_InitStruct.Mode = GPIO_MODE_IT_RISING;
  GPIO_InitStruct.Pull = GPIO_NOPULL;
  HAL_GPIO_Init(GPIOC, &GPIO_InitStruct);

  /*Configure GPIO pin : PMOD_SPI2_SCK_Pin */
  GPIO_InitStruct.Pin = PMOD_SPI2_SCK_Pin;
  GPIO_InitStruct.Mode = GPIO_MODE_AF_PP;
  GPIO_InitStruct.Pull = GPIO_NOPULL;
  GPIO_InitStruct.Speed = GPIO_SPEED_FREQ_VERY_HIGH;
  GPIO_InitStruct.Alternate = GPIO_AF5_SPI2;
  HAL_GPIO_Init(PMOD_SPI2_SCK_GPIO_Port, &GPIO_InitStruct);

  /*Configure GPIO pins : PMOD_UART2_CTS_Pin PMOD_UART2_RTS_Pin PMOD_UART2_TX_Pin PMOD_UART2_RX_Pin */
  GPIO_InitStruct.Pin = PMOD_UART2_CTS_Pin|PMOD_UART2_RTS_Pin|PMOD_UART2_TX_Pin|PMOD_UART2_RX_Pin;
  GPIO_InitStruct.Mode = GPIO_MODE_AF_PP;
  GPIO_InitStruct.Pull = GPIO_NOPULL;
  GPIO_InitStruct.Speed = GPIO_SPEED_FREQ_VERY_HIGH;
  GPIO_InitStruct.Alternate = GPIO_AF7_USART2;
  HAL_GPIO_Init(GPIOD, &GPIO_InitStruct);

  /*Configure GPIO pins : ARD_D15_Pin ARD_D14_Pin */
  GPIO_InitStruct.Pin = ARD_D15_Pin|ARD_D14_Pin;
  GPIO_InitStruct.Mode = GPIO_MODE_AF_OD;
  GPIO_InitStruct.Pull = GPIO_NOPULL;
  GPIO_InitStruct.Speed = GPIO_SPEED_FREQ_VERY_HIGH;
  GPIO_InitStruct.Alternate = GPIO_AF4_I2C1;
  HAL_GPIO_Init(GPIOB, &GPIO_InitStruct);

  /* EXTI interrupt init*/
  HAL_NVIC_SetPriority(EXTI1_IRQn, 0, 0);
  HAL_NVIC_EnableIRQ(EXTI1_IRQn);

  HAL_NVIC_SetPriority(EXTI9_5_IRQn, 0, 0);
  HAL_NVIC_EnableIRQ(EXTI9_5_IRQn);

  HAL_NVIC_SetPriority(EXTI15_10_IRQn, 0, 0);
  HAL_NVIC_EnableIRQ(EXTI15_10_IRQn);

}

/* USER CODE BEGIN 4 */
int8_t turbidity_get_ntu ( uint32_t sample, float * ntu )
{
    float voltage;
    float coeff_c;

    voltage = (float)sample;
    voltage *= TURBIDITY_VREF_5000_mV;
    voltage /= TURBIDITY_ADC_RESOLUTION;
    printf("Input voltage: %fmV\r\n", voltage);

    coeff_c = TURBIDITY_NTU_CALC_FACT_0;

    if ( voltage > TURBIDITY_VOLTAGE_LEVEL_1 )
    {
        coeff_c = TURBIDITY_NTU_CALC_FACT_1;
    }

    if ( voltage > TURBIDITY_VOLTAGE_LEVEL_2 )
    {
        coeff_c = TURBIDITY_NTU_CALC_FACT_2;
    }

    if ( voltage > TURBIDITY_VOLTAGE_LEVEL_3 )
    {
        coeff_c = TURBIDITY_NTU_CALC_FACT_3;
    }

    if ( voltage > TURBIDITY_VOLTAGE_LEVEL_4 )
    {
        coeff_c = TURBIDITY_NTU_CALC_FACT_4;
    }

    *ntu = TURBIDITY_ADC_VOLTAGE_MAX;
    *ntu -= voltage;
    *ntu /= coeff_c;

    if ( voltage > TURBIDITY_ADC_VOLTAGE_MAX )
    {
        *ntu = TURBIDITY_NTU_MIN;
    }

    if ( voltage < TURBIDITY_ADC_VOLTAGE_MIN )
    {
        *ntu = TURBIDITY_NTU_MAX;
    }

    return 0;
}

void Led_SetState(bool on)
{
  if (on == true)
  {
    BSP_LED_On(LED_GREEN);
  }
  else
  {
    BSP_LED_Off(LED_GREEN);
  }
}

/**
 * @brief Blink LED for 'count' cycles of 'period' period and 'duty' ON duration.
 * duty < 0 tells to start with an OFF state.
 */
void Led_Blink(int period, int duty, int count)
{
  if ( (duty > 0) && (period >= duty) )
  {
    /*  Shape:   ____
                  on |_off__ */
    do
    {
      Led_SetState(true);
      HAL_Delay(duty);
      Led_SetState(false);
      HAL_Delay(period - duty);
    } while (count--);
  }
  if ( (duty < 0) && (period >= -duty) )
  {
    /*  Shape:         ____
                __off_| on   */
    do
    {
      Led_SetState(false);
      HAL_Delay(period + duty);
      Led_SetState(true);
      HAL_Delay(-duty);
    } while (count--);
  }
}

void SPI3_IRQHandler(void)
{
  HAL_SPI_IRQHandler(&hspi);
}/** Function to read data from the socket opened into provided buffer
 * @param - Address of Network Structure
 *        - Buffer to store the data read from socket
 *        - Expected number of bytes to read from socket
 *        - Timeout in milliseconds
 * @return - Number of Bytes read on SUCCESS
 *         - -1 on FAILURE
 **/
int network_rd(Network* n, unsigned char* buffer, int len, int timeout_ms)
{
  int bytes;

  bytes = net_sock_recv((net_sockhnd_t) n->my_socket, buffer, len);
  if(bytes < 0)
  {
    msg_error("net_sock_recv failed - %d\n", bytes);
    bytes = -1;
  }

   return bytes;
}

/** Function to write data to the socket opened present in provided buffer
 * @param - Address of Network Structure
 *        - Buffer storing the data to write to socket
 *        - Number of bytes of data to write to socket
 *        - Timeout in milliseconds
 * @return - Number of Bytes written on SUCCESS
 *         - -1 on FAILURE
 **/
int network_wr(Network* n, unsigned char* buffer, int len, int timeout_ms)
{
  int rc;

  rc = net_sock_send((net_sockhnd_t) n->my_socket, buffer, len);
  if(rc < 0)
  {
    msg_error("net_sock_send failed - %d\n", rc);
    rc = -1;
  }

  return rc;
}

/* USER CODE END 4 */

void Error_Handler(void)
{
  __disable_irq();
  while (1)
  {
  }
}
